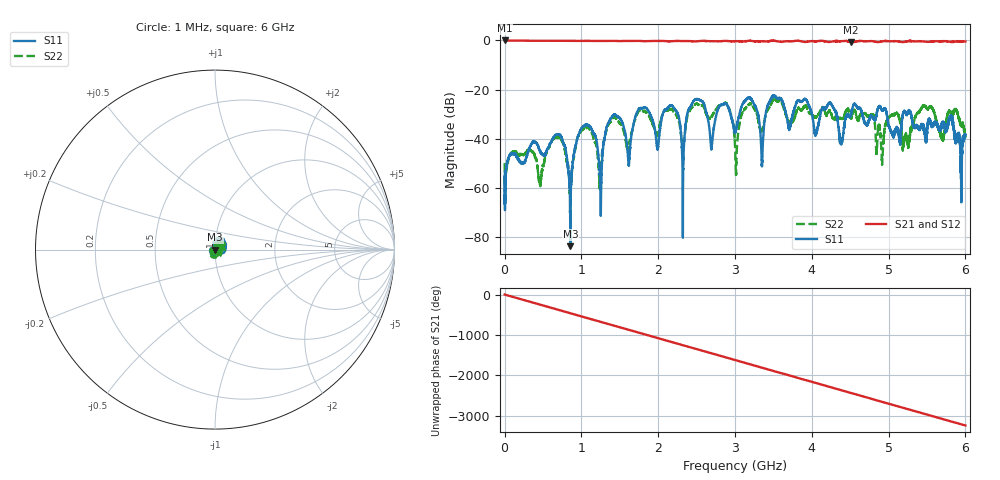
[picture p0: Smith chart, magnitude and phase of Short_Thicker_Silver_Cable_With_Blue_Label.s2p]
# GHZ S RI R 50.000000000000
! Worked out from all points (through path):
!   10000 points, 1 MHz to 6 GHz, reference 50 ohm
!   highest |S21| = 0.00 dB at 1 MHz (marker M1); lowest = -0.8 dB at 4.514 GHz (marker M2)
!   group delay of S21, straight-line fit = 1.5 ns
!   lowest |S11| = -83.8 dB at 857.1 MHz (marker M3), VSWR 1.00, Z = 50 + j0.00081 ohm
!   |S11| at or under -10 dB: start of sweep to end of sweep
!   |S22| runs from -62.5 to -23.9 dB; largest |S21 - S12| = 0.045
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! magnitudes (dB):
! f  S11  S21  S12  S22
! 1 MHz  -56.0  0.0  0.0  -50.0
! 465.4 MHz  -45.3  -0.1  -0.1  -58.5
! 696.4 MHz  -38.4  -0.1  -0.1  -39.6
! 857.1 MHz  -83.8  -0.2  -0.2  -60.6
! 1.001 GHz  -35.8  -0.2  -0.2  -36.6
! 1.247 GHz  -59.5  -0.2  -0.2  -57.6
! 1.418 GHz  -30.5  -0.2  -0.2  -31.6
! 1.614 GHz  -50.0  -0.2  -0.2  -43.1
! 1.77 GHz  -27.5  -0.2  -0.2  -28.6
! 2.001 GHz  -42.7  -0.2  -0.3  -37.5
! 2.152 GHz  -26.8  -0.3  -0.4  -28.3
! 2.322 GHz  -80.4  -0.2  -0.3  -44.5
! 2.469 GHz  -24.5  -0.4  -0.4  -26.4
! 2.876 GHz  -25.7  -0.2  -0.2  -25.4
! 3.001 GHz  -37.4  -0.3  -0.3  -42.6
! 3.188 GHz  -23.4  -0.1  -0.2  -25.9
! 3.35 GHz  -51.1  -0.3  -0.3  -36.7
! 3.498 GHz  -22.6  -0.1  -0.2  -24.3
! 4.001 GHz  -29.9  -0.3  -0.3  -30.1
! 4.514 GHz  -28.4  -0.8  -0.8  -30.6
! 5 GHz  -34.4  -0.3  -0.4  -31.5
! 6 GHz  -38.3  -0.4  -0.4  -39.0
